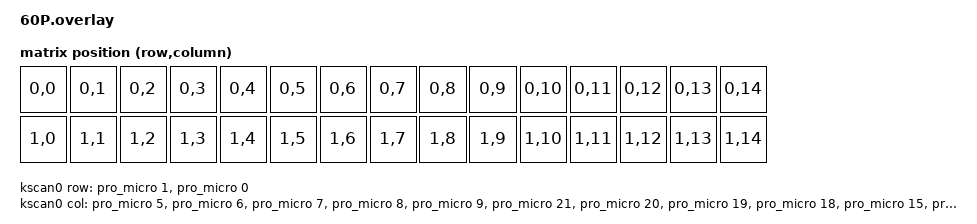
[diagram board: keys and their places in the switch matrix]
#include <dt-bindings/zmk/matrix_transform.h>
/ {
    chosen {
        zmk,kscan = &kscan0;
        zmk,physical-layout = &physical_layout0;
    };

    physical_layout0: physical_layout_0 {
        compatible = "zmk,physical-layout";
        display-name = "Default Layout";
        kscan = <&kscan0>;
        transform = <&default_transform>;
    };

    kscan0: kscan0 {
        compatible = "zmk,kscan-gpio-matrix";
        diode-direction = "col2row";
        wakeup-source;

        col-gpios
            = <&pro_micro 5 GPIO_ACTIVE_HIGH>
            , <&pro_micro 6 GPIO_ACTIVE_HIGH>
            , <&pro_micro 7 GPIO_ACTIVE_HIGH>
            , <&pro_micro 8 GPIO_ACTIVE_HIGH>
            , <&pro_micro 9 GPIO_ACTIVE_HIGH>
            , <&pro_micro 21 GPIO_ACTIVE_HIGH>
            , <&pro_micro 20 GPIO_ACTIVE_HIGH>
            , <&pro_micro 19 GPIO_ACTIVE_HIGH>
            , <&pro_micro 18 GPIO_ACTIVE_HIGH>
            , <&pro_micro 15 GPIO_ACTIVE_HIGH>
            , <&pro_micro 14 GPIO_ACTIVE_HIGH>
            , <&pro_micro 16 GPIO_ACTIVE_HIGH>
            , <&pro_micro 10 GPIO_ACTIVE_HIGH>
            , <&pro_micro 39 GPIO_ACTIVE_HIGH>
            , <&pro_micro 34 GPIO_ACTIVE_HIGH>
            ;

        row-gpios
            = <&pro_micro 1 (GPIO_ACTIVE_HIGH | GPIO_PULL_DOWN)>
            , <&pro_micro 0 (GPIO_ACTIVE_HIGH | GPIO_PULL_DOWN)>
            ;
    };

    default_transform: keymap_transform0 {
        compatible = "zmk,matrix-transform";
        columns = <15>;
        rows = <2>;
        map = <
        // Row 0 : C0 à C12 
            RC(0,0) RC(0,1) RC(0,2) RC(0,3) RC(0,4) RC(0,5) RC(0,6) RC(0,7) RC(0,8) RC(0,9) RC(0,10) RC(0,11) RC(0,12) RC(0,13) RC(0,14)
        // Row 1 : C0 à C12
            RC(1,0) RC(1,1) RC(1,2) RC(1,3) RC(1,4) RC(1,5) RC(1,6) RC(1,7) RC(1,8) RC(1,9) RC(1,10) RC(1,11) RC(1,12) RC(1,13) RC(1,14)
        >;
    };
};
